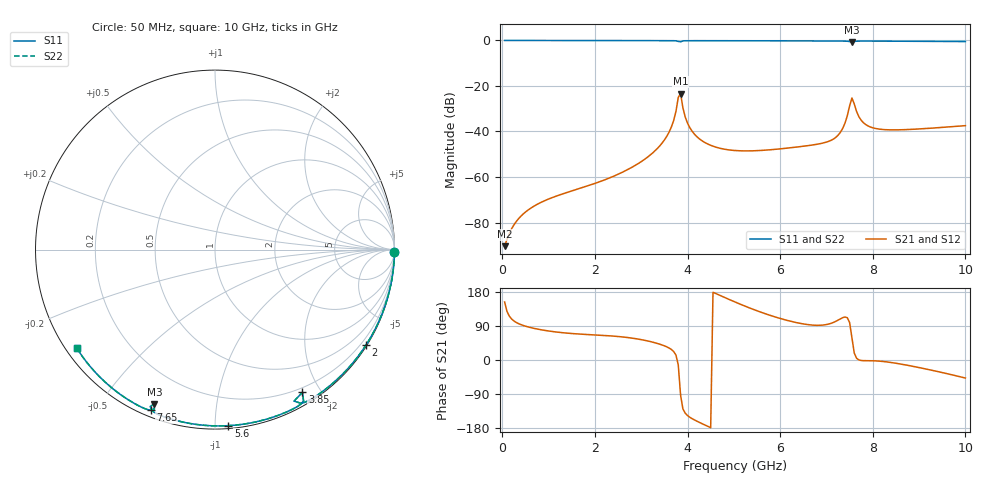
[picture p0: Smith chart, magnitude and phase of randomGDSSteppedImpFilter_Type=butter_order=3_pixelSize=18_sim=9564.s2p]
! freq	dB(S11)	phase(S11)	dB(S12)	phase(S12)
!  dB(S21)	phase(S21)	dB(S22)	phase(S22)
!S-par simulation data
#  GHz  S  DB  R 50
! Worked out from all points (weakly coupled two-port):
!   200 points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, 50 MHz to 10 GHz, reference 50 ohm
!   highest |S21| = -23.31 dB at 3.85 GHz (marker M1); lowest = -90.4 dB at 50 MHz (marker M2)
!   lowest |S11| = -0.7 dB at 7.55 GHz (marker M3), VSWR 25.06, Z = 2.92 - j34 ohm
!   |S11| at or under -10 dB: nowhere
!   |S22| runs from -0.7 to 0.0 dB; largest |S21 - S12| = 0
!   S11 on the Smith chart (normalised r, x): 50 MHz: open; 2 GHz: 0.03, -3.44; 3.85 GHz: 0.15, -1.78; 5.6 GHz: 0.02, -1.08; 7.65 GHz: 0.03, -0.68; 10 GHz: 0.03, -0.32
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0.05  -0.00 -0.8  -90.40 153.0  -90.40 153.0  -0.00 -0.8
0.3  -0.00 -4.9  -79.61 99.2  -79.61 99.2  -0.00 -4.9
1.75  -0.04 -28.4  -64.52 67.8  -64.52 67.8  -0.04 -28.4
2  -0.04 -32.4  -62.83 66.1  -62.83 66.1  -0.04 -32.4
2.8  -0.06 -44.9  -55.73 57.8  -55.73 57.8  -0.06 -44.9
3.4  -0.07 -54.3  -46.34 41.8  -46.34 41.8  -0.07 -54.3
3.65  -0.09 -58.5  -38.09 27.9  -38.09 27.9  -0.09 -58.5
3.8  -0.43 -62.4  -25.01 -13.1  -25.01 -13.1  -0.43 -62.4
3.85  -0.61 -58.5  -23.31 -93.0  -23.31 -93.0  -0.61 -58.5
3.9  -0.20 -59.7  -29.59 -128.8  -29.59 -128.8  -0.20 -59.7
4  -0.11 -62.1  -36.35 -146.6  -36.35 -146.6  -0.11 -62.1
4.2  -0.10 -65.4  -42.25 -161.4  -42.25 -161.4  -0.10 -65.4
5.05  -0.12 -77.9  -48.40 151.8  -48.40 151.8  -0.12 -77.9
5.6  -0.14 -85.6  -48.31 125.5  -48.31 125.5  -0.14 -85.7
6.7  -0.20 -100.7  -45.93 92.1  -45.93 92.1  -0.20 -100.7
7.25  -0.25 -108.3  -41.66 105.2  -41.66 105.2  -0.25 -108.3
7.4  -0.29 -110.6  -36.34 113.5  -36.34 113.5  -0.29 -110.6
7.55  -0.69 -111.4  -25.29 58.3  -25.29 58.3  -0.69 -111.4
7.65  -0.32 -111.9  -31.21 4.6  -31.21 4.6  -0.32 -111.9
7.9  -0.28 -115.9  -37.60 -1.8  -37.60 -1.8  -0.28 -115.9
8.35  -0.31 -122.0  -39.27 -5.8  -39.27 -5.8  -0.31 -122.0
10  -0.48 -144.4  -37.44 -47.6  -37.44 -47.6  -0.48 -144.4
